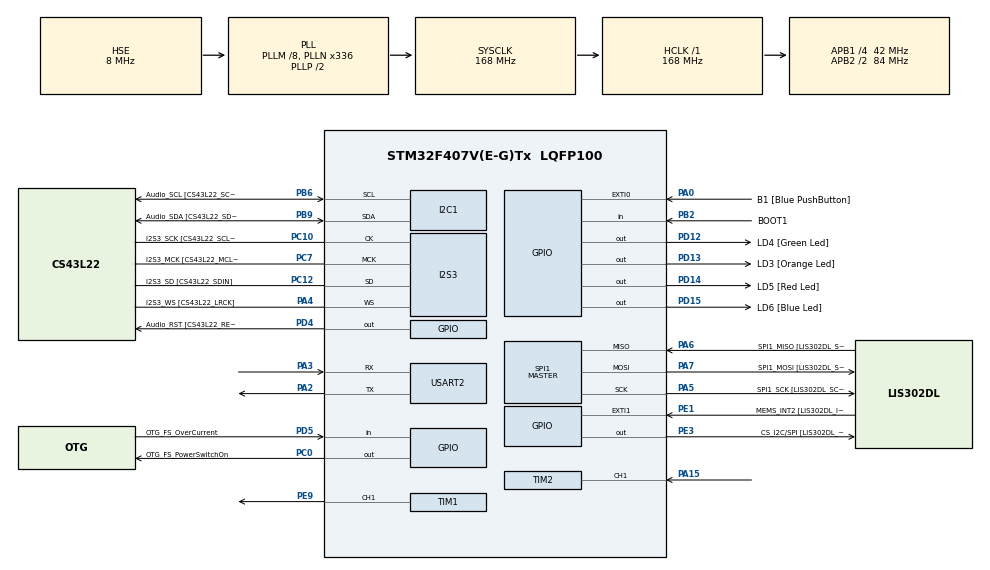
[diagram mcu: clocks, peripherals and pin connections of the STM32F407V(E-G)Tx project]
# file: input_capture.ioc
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I2S3.AudioFreq-Half_Duplex_Master=I2S_AUDIOFREQ_96K
I2S3.ErrorAudioFreq=-2.34 %
I2S3.ErrorAudioFreq-Half_Duplex_Master=0.8 %
I2S3.FullDuplexMode=I2S_FULLDUPLEXMODE_DISABLE
I2S3.Instance=SPI$Index
I2S3.RealAudioFreq=93.75 KHz
I2S3.RealAudioFreq-Half_Duplex_Master=96.774 KHz
I2S3.VirtualMode=I2S_MODE_MASTER
Mcu.Family=STM32F4
Mcu.Name=STM32F407V(E-G)Tx
Mcu.Package=LQFP100
NVIC.PriorityGroup=NVIC_PRIORITYGROUP_0
NVIC.TIM2_IRQn=true\:0\:0\:false\:false\:true\:true\:true\:true
PA0-WKUP.GPIO_Label=B1 [Blue PushButton]
PA0-WKUP.GPIO_ModeDefaultEXTI=GPIO_MODE_EVT_RISING
PA0-WKUP.GPIO_PuPd=GPIO_NOPULL
PA0-WKUP.Signal=GPXTI0
PA10.GPIO_Label=OTG_FS_ID
PA10.GPIO_Mode=GPIO_MODE_AF_PP
PA10.GPIO_PuPd=GPIO_NOPULL
PA10.GPIO_Speed=GPIO_SPEED_FREQ_LOW
PA10.Signal=USB_OTG_FS_ID
PA11.GPIO_Label=OTG_FS_DM
PA11.GPIO_Mode=GPIO_MODE_AF_PP
PA11.GPIO_PuPd=GPIO_NOPULL
PA11.GPIO_Speed=GPIO_SPEED_FREQ_LOW
PA11.Signal=USB_OTG_FS_DM
PA12.GPIO_Label=OTG_FS_DP
PA12.GPIO_Mode=GPIO_MODE_AF_PP
PA12.GPIO_PuPd=GPIO_NOPULL
PA12.GPIO_Speed=GPIO_SPEED_FREQ_LOW
PA12.Signal=USB_OTG_FS_DP
PA13.GPIO_Label=SWDIO
PA13.Mode=Serial_Wire
PA13.Signal=SYS_JTMS-SWDIO
PA14.GPIO_Label=SWCLK
PA14.Mode=Serial_Wire
PA14.Signal=SYS_JTCK-SWCLK
PA15.Signal=S_TIM2_CH1_ETR
PA2.Mode=Asynchronous
PA2.Signal=USART2_TX
PA3.Mode=Asynchronous
PA3.Signal=USART2_RX
PA4.GPIO_Label=I2S3_WS [CS43L22_LRCK]
PA4.GPIO_Mode=GPIO_MODE_AF_PP
PA4.GPIO_PuPd=GPIO_NOPULL
PA4.GPIO_Speed=GPIO_SPEED_FREQ_LOW
PA4.Mode=Half_Duplex_Master
PA4.Signal=I2S3_WS
PA5.GPIO_Label=SPI1_SCK [LIS302DL_SCL/SPC]
PA5.GPIO_Mode=GPIO_MODE_AF_PP
PA5.GPIO_PuPd=GPIO_NOPULL
PA5.GPIO_Speed=GPIO_SPEED_FREQ_LOW
PA5.Mode=Full_Duplex_Master
PA5.Signal=SPI1_SCK
PA6.GPIO_Label=SPI1_MISO [LIS302DL_SDO]
PA6.GPIO_Mode=GPIO_MODE_AF_PP
PA6.GPIO_PuPd=GPIO_NOPULL
PA6.GPIO_Speed=GPIO_SPEED_FREQ_LOW
PA6.Mode=Full_Duplex_Master
PA6.Signal=SPI1_MISO
PA7.GPIO_Label=SPI1_MOSI [LIS302DL_SDA/SDI/SDO]
PA7.GPIO_Mode=GPIO_MODE_AF_PP
PA7.GPIO_PuPd=GPIO_NOPULL
PA7.GPIO_Speed=GPIO_SPEED_FREQ_LOW
PA7.Mode=Full_Duplex_Master
PA7.Signal=SPI1_MOSI
PA9.GPIO_Label=VBUS_FS
PA9.GPIO_Mode=GPIO_MODE_INPUT
PA9.GPIO_PuPd=GPIO_NOPULL
PA9.Signal=USB_OTG_FS_VBUS
PB10.GPIO_Label=CLK_IN [MP45DT02_CLK]
PB10.GPIO_Mode=GPIO_MODE_AF_PP
PB10.GPIO_PuPd=GPIO_NOPULL
PB10.GPIO_Speed=GPIO_SPEED_FREQ_LOW
PB10.Signal=I2S2_CK
PB2.GPIO_Label=BOOT1
PB2.GPIO_Mode=GPIO_MODE_INPUT
PB2.GPIO_PuPd=GPIO_NOPULL
PB2.Signal=GPIO_Input
PB3.GPIO_Label=SWO
PB3.Signal=SYS_JTDO-SWO
PB6.GPIO_Label=Audio_SCL [CS43L22_SCL]
PB6.GPIO_Mode=GPIO_MODE_AF_OD
PB6.GPIO_Pu=GPIO_PULLUP
PB6.GPIO_PuPd=GPIO_NOPULL
PB6.GPIO_Speed=GPIO_SPEED_FREQ_LOW
PB6.Mode=I2C
PB6.Signal=I2C1_SCL
PB9.GPIO_Label=Audio_SDA [CS43L22_SDA]
PB9.GPIO_Mode=GPIO_MODE_AF_OD
PB9.GPIO_Pu=GPIO_PULLUP
PB9.GPIO_PuPd=GPIO_NOPULL
PB9.GPIO_Speed=GPIO_SPEED_FREQ_LOW
PB9.Mode=I2C
PB9.Signal=I2C1_SDA
PC0.GPIO_Label=OTG_FS_PowerSwitchOn
PC0.GPIO_PuPd=GPIO_NOPULL
PC0.GPIO_Speed=GPIO_SPEED_FREQ_LOW
PC0.PinState=GPIO_PIN_SET
PC0.Signal=GPIO_Output
PC10.GPIO_Label=I2S3_SCK [CS43L22_SCLK]
PC10.GPIO_Mode=GPIO_MODE_AF_PP
PC10.GPIO_PuPd=GPIO_NOPULL
PC10.GPIO_Speed=GPIO_SPEED_FREQ_LOW
PC10.Mode=Half_Duplex_Master
PC10.Signal=I2S3_CK
PC12.GPIO_Label=I2S3_SD [CS43L22_SDIN]
PC12.GPIO_Mode=GPIO_MODE_AF_PP
PC12.GPIO_PuPd=GPIO_NOPULL
PC12.GPIO_Speed=GPIO_SPEED_FREQ_LOW
PC12.Mode=Half_Duplex_Master
PC12.Signal=I2S3_SD
PC14-OSC32_IN.GPIO_Label=PC14-OSC32_IN
PC14-OSC32_IN.Mode=LSE-External-Oscillator
PC14-OSC32_IN.Signal=RCC_OSC32_IN
PC15-OSC32_OUT.GPIO_Label=PC15-OSC32_OUT
PC15-OSC32_OUT.Mode=LSE-External-Oscillator
PC15-OSC32_OUT.Signal=RCC_OSC32_OUT
PC3.GPIO_Label=PDM_OUT [MP45DT02_DOUT]
PC3.GPIO_Mode=GPIO_MODE_AF_PP
PC3.GPIO_PuPd=GPIO_NOPULL
PC3.GPIO_Speed=GPIO_SPEED_FREQ_LOW
PC3.Signal=I2S2_SD
PC7.GPIO_Label=I2S3_MCK [CS43L22_MCLK]
PC7.GPIO_Mode=GPIO_MODE_AF_PP
PC7.GPIO_PuPd=GPIO_NOPULL
PC7.GPIO_Speed=GPIO_SPEED_FREQ_LOW
PC7.Mode=Master_Clock_Activated
PC7.Signal=I2S3_MCK
PD12.GPIO_Label=LD4 [Green Led]
PD12.GPIO_PuPd=GPIO_NOPULL
PD12.GPIO_Speed=GPIO_SPEED_FREQ_LOW
PD12.Signal=GPIO_Output
PD13.GPIO_Label=LD3 [Orange Led]
PD13.GPIO_PuPd=GPIO_NOPULL
PD13.GPIO_Speed=GPIO_SPEED_FREQ_LOW
PD13.Signal=GPIO_Output
PD14.GPIO_Label=LD5 [Red Led]
PD14.GPIO_PuPd=GPIO_NOPULL
PD14.GPIO_Speed=GPIO_SPEED_FREQ_LOW
PD14.Signal=GPIO_Output
PD15.GPIO_Label=LD6 [Blue Led]
PD15.GPIO_PuPd=GPIO_NOPULL
PD15.GPIO_Speed=GPIO_SPEED_FREQ_LOW
PD15.Signal=GPIO_Output
PD4.GPIO_Label=Audio_RST [CS43L22_RESET]
PD4.GPIO_PuPd=GPIO_NOPULL
PD4.GPIO_Speed=GPIO_SPEED_FREQ_LOW
PD4.Signal=GPIO_Output
PD5.GPIO_Label=OTG_FS_OverCurrent
PD5.GPIO_Mode=GPIO_MODE_INPUT
PD5.GPIO_PuPd=GPIO_NOPULL
PD5.Signal=GPIO_Input
PE1.GPIO_Label=MEMS_INT2 [LIS302DL_INT2]
PE1.GPIO_ModeDefaultEXTI=GPIO_MODE_EVT_RISING
PE1.GPIO_PuPd=GPIO_NOPULL
PE1.Signal=GPXTI1
PE3.GPIO_Label=CS_I2C/SPI [LIS302DL_CS_I2C/SPI]
PE3.GPIO_PuPd=GPIO_NOPULL
PE3.GPIO_Speed=GPIO_SPEED_FREQ_LOW
PE3.Signal=GPIO_Output
PE9.Signal=S_TIM1_CH1
PH0-OSC_IN.GPIO_Label=PH0-OSC_IN
PH0-OSC_IN.Mode=HSE-External-Oscillator
PH0-OSC_IN.Signal=RCC_OSC_IN
PH1-OSC_OUT.GPIO_Label=PH1-OSC_OUT
PH1-OSC_OUT.Mode=HSE-External-Oscillator
PH1-OSC_OUT.Signal=RCC_OSC_OUT
ProjectManager.HeapSize=0x200
ProjectManager.StackSize=0x400
ProjectManager.TargetToolchain=STM32CubeIDE
RCC.48MHZClocksFreq_Value=48000000
RCC.AHBFreq_Value=168000000
RCC.APB1CLKDivider=RCC_HCLK_DIV4
RCC.APB1Freq_Value=42000000
RCC.APB1TimFreq_Value=84000000
RCC.APB2CLKDivider=RCC_HCLK_DIV2
RCC.APB2Freq_Value=84000000
RCC.APB2TimFreq_Value=168000000
RCC.CortexFreq_Value=168000000
RCC.HCLKFreq_Value=168000000
RCC.HSE_VALUE=8000000
RCC.HSI_VALUE=16000000
RCC.PLLM=8
RCC.PLLN=336
RCC.PLLQ=7
RCC.PLLSourceVirtual=RCC_PLLSOURCE_HSE
RCC.SYSCLKFreq_VALUE=168000000
RCC.SYSCLKSource=RCC_SYSCLKSOURCE_PLLCLK
RCC.VCOOutputFreq_Value=336000000
SH.S_TIM1_CH1.0=TIM1_CH1,PWM Generation1 CH1
SH.S_TIM2_CH1_ETR.0=TIM2_CH1,Input_Capture1_from_TI1
SPI1.BaudRatePrescaler-Full_Duplex_Master=SPI_BAUDRATEPRESCALER_2
SPI1.CalculateBaudRate-Full_Duplex_Master=42.0 MBits/s
SPI1.Direction=SPI_DIRECTION_2LINES
SPI1.Mode=SPI_MODE_MASTER
SPI1.Mode-Full_Duplex_Master=SPI_MODE_MASTER
SPI1.VirtualType=VM_MASTER
TIM1.Channel-PWM\ Generation1\ CH1=TIM_CHANNEL_1
TIM1.Period=100-1
TIM1.Prescaler=168-1
TIM2.Channel-Input_Capture1_from_TI1=TIM_CHANNEL_1
TIM2.Prescaler=84-1
USART2.VirtualMode=VM_ASYNC
VP_TIM1_VS_ClockSourceINT.Mode=Internal
VP_TIM2_VS_ClockSourceINT.Mode=Internal
board=STM32F407G-DISC1

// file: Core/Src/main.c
/* USER CODE BEGIN Header */
/**
  ******************************************************************************
  * @file           : main.c
  * @brief          : Main program body
  ******************************************************************************
  * @attention
  *
  * Copyright (c) 2023 STMicroelectronics.
  * All rights reserved.
  *
  * This software is licensed under terms that can be found in the LICENSE file
  * in the root directory of this software component.
  * If no LICENSE file comes with this software, it is provided AS-IS.
  *
  ******************************************************************************
  */
/* USER CODE END Header */
#include "main.h"

I2C_HandleTypeDef hi2c1;

I2S_HandleTypeDef hi2s3;

SPI_HandleTypeDef hspi1;

TIM_HandleTypeDef htim1;
TIM_HandleTypeDef htim2;

UART_HandleTypeDef huart2;

void SystemClock_Config(void);
static void MX_GPIO_Init(void);
static void MX_I2C1_Init(void);
static void MX_I2S3_Init(void);
static void MX_SPI1_Init(void);
static void MX_TIM1_Init(void);
static void MX_USART2_UART_Init(void);
static void MX_TIM2_Init(void);

/* USER CODE BEGIN 0 */
#define TIMCLOCK   84000000
#define PRESCALAR  84
int _write(int file, char* p, int len){
	HAL_UART_Transmit(&huart2, p, len, 10);
	return len;

}
uint32_t cap0 = 0;
uint32_t cap1 = 0;
uint32_t diff = 0;
uint8_t is_capture = 0;

/* Measure Frequency */
float frequency = 0;

void HAL_TIM_IC_CaptureCallback(TIM_HandleTypeDef *htim)
{
	if (htim->Channel == HAL_TIM_ACTIVE_CHANNEL_1)
	{
		if (is_capture==0)
		{
			cap0 = HAL_TIM_ReadCapturedValue(htim, TIM_CHANNEL_1);
			is_capture = 1;
		}

		else
		{
			cap1 = HAL_TIM_ReadCapturedValue(htim, TIM_CHANNEL_1);

			if (cap1 > cap0)
			{
				diff = cap1-cap0;
			}

			else if (cap0 > cap1)
			{
				diff = (0xffffffff - cap0) + cap1;
			}

			frequency = HAL_RCC_GetPCLK2Freq()/(htim2.Instance->PSC + 1);

			frequency = frequency/diff;

			__HAL_TIM_SET_COUNTER(htim, 0);  // reset the counter
			is_capture = 0; // set it back to false
		}
	}
}
/* USER CODE END 0 */

int main(void)
{

  /* MCU Configuration--------------------------------------------------------*/

  /* Reset of all peripherals, Initializes the Flash interface and the Systick. */
  HAL_Init();

  /* Configure the system clock */
  SystemClock_Config();

  /* Initialize all configured peripherals */
  MX_GPIO_Init();
  MX_I2C1_Init();
  MX_I2S3_Init();
  MX_SPI1_Init();
  MX_TIM1_Init();
  MX_USART2_UART_Init();
  MX_TIM2_Init();
  /* USER CODE BEGIN 2 */
  TIM1->CCR1 = 30;
  HAL_TIM_PWM_Start(&htim1, TIM_CHANNEL_1);
  HAL_TIM_IC_Start_IT(&htim2, TIM_CHANNEL_1);
  /* USER CODE END 2 */

  /* Infinite loop */
  while (1)
  {
	  printf("The frequency is %.2f\n", frequency);
	  HAL_Delay(1000);
  }
}

void SystemClock_Config(void)
{
  RCC_OscInitTypeDef RCC_OscInitStruct = {0};
  RCC_ClkInitTypeDef RCC_ClkInitStruct = {0};

  /** Configure the main internal regulator output voltage
  */
  __HAL_RCC_PWR_CLK_ENABLE();
  __HAL_PWR_VOLTAGESCALING_CONFIG(PWR_REGULATOR_VOLTAGE_SCALE1);

  /** Initializes the RCC Oscillators according to the specified parameters
  * in the RCC_OscInitTypeDef structure.
  */
  RCC_OscInitStruct.OscillatorType = RCC_OSCILLATORTYPE_HSE;
  RCC_OscInitStruct.HSEState = RCC_HSE_ON;
  RCC_OscInitStruct.PLL.PLLState = RCC_PLL_ON;
  RCC_OscInitStruct.PLL.PLLSource = RCC_PLLSOURCE_HSE;
  RCC_OscInitStruct.PLL.PLLM = 8;
  RCC_OscInitStruct.PLL.PLLN = 336;
  RCC_OscInitStruct.PLL.PLLP = RCC_PLLP_DIV2;
  RCC_OscInitStruct.PLL.PLLQ = 7;
  if (HAL_RCC_OscConfig(&RCC_OscInitStruct) != HAL_OK)
  {
    Error_Handler();
  }

  /** Initializes the CPU, AHB and APB buses clocks
  */
  RCC_ClkInitStruct.ClockType = RCC_CLOCKTYPE_HCLK|RCC_CLOCKTYPE_SYSCLK
                              |RCC_CLOCKTYPE_PCLK1|RCC_CLOCKTYPE_PCLK2;
  RCC_ClkInitStruct.SYSCLKSource = RCC_SYSCLKSOURCE_PLLCLK;
  RCC_ClkInitStruct.AHBCLKDivider = RCC_SYSCLK_DIV1;
  RCC_ClkInitStruct.APB1CLKDivider = RCC_HCLK_DIV4;
  RCC_ClkInitStruct.APB2CLKDivider = RCC_HCLK_DIV2;

  if (HAL_RCC_ClockConfig(&RCC_ClkInitStruct, FLASH_LATENCY_5) != HAL_OK)
  {
    Error_Handler();
  }
}

static void MX_I2C1_Init(void)
{

  hi2c1.Instance = I2C1;
  hi2c1.Init.ClockSpeed = 100000;
  hi2c1.Init.DutyCycle = I2C_DUTYCYCLE_2;
  hi2c1.Init.OwnAddress1 = 0;
  hi2c1.Init.AddressingMode = I2C_ADDRESSINGMODE_7BIT;
  hi2c1.Init.DualAddressMode = I2C_DUALADDRESS_DISABLE;
  hi2c1.Init.OwnAddress2 = 0;
  hi2c1.Init.GeneralCallMode = I2C_GENERALCALL_DISABLE;
  hi2c1.Init.NoStretchMode = I2C_NOSTRETCH_DISABLE;
  if (HAL_I2C_Init(&hi2c1) != HAL_OK)
  {
    Error_Handler();
  }

}

static void MX_I2S3_Init(void)
{

  hi2s3.Instance = SPI3;
  hi2s3.Init.Mode = I2S_MODE_MASTER_TX;
  hi2s3.Init.Standard = I2S_STANDARD_PHILIPS;
  hi2s3.Init.DataFormat = I2S_DATAFORMAT_16B;
  hi2s3.Init.MCLKOutput = I2S_MCLKOUTPUT_ENABLE;
  hi2s3.Init.AudioFreq = I2S_AUDIOFREQ_96K;
  hi2s3.Init.CPOL = I2S_CPOL_LOW;
  hi2s3.Init.ClockSource = I2S_CLOCK_PLL;
  hi2s3.Init.FullDuplexMode = I2S_FULLDUPLEXMODE_DISABLE;
  if (HAL_I2S_Init(&hi2s3) != HAL_OK)
  {
    Error_Handler();
  }

}

static void MX_SPI1_Init(void)
{

  /* SPI1 parameter configuration*/
  hspi1.Instance = SPI1;
  hspi1.Init.Mode = SPI_MODE_MASTER;
  hspi1.Init.Direction = SPI_DIRECTION_2LINES;
  hspi1.Init.DataSize = SPI_DATASIZE_8BIT;
  hspi1.Init.CLKPolarity = SPI_POLARITY_LOW;
  hspi1.Init.CLKPhase = SPI_PHASE_1EDGE;
  hspi1.Init.NSS = SPI_NSS_SOFT;
  hspi1.Init.BaudRatePrescaler = SPI_BAUDRATEPRESCALER_2;
  hspi1.Init.FirstBit = SPI_FIRSTBIT_MSB;
  hspi1.Init.TIMode = SPI_TIMODE_DISABLE;
  hspi1.Init.CRCCalculation = SPI_CRCCALCULATION_DISABLE;
  hspi1.Init.CRCPolynomial = 10;
  if (HAL_SPI_Init(&hspi1) != HAL_OK)
  {
    Error_Handler();
  }

}

static void MX_TIM1_Init(void)
{

  TIM_ClockConfigTypeDef sClockSourceConfig = {0};
  TIM_MasterConfigTypeDef sMasterConfig = {0};
  TIM_OC_InitTypeDef sConfigOC = {0};
  TIM_BreakDeadTimeConfigTypeDef sBreakDeadTimeConfig = {0};

  htim1.Instance = TIM1;
  htim1.Init.Prescaler = 168-1;
  htim1.Init.CounterMode = TIM_COUNTERMODE_UP;
  htim1.Init.Period = 100-1;
  htim1.Init.ClockDivision = TIM_CLOCKDIVISION_DIV1;
  htim1.Init.RepetitionCounter = 0;
  htim1.Init.AutoReloadPreload = TIM_AUTORELOAD_PRELOAD_DISABLE;
  if (HAL_TIM_Base_Init(&htim1) != HAL_OK)
  {
    Error_Handler();
  }
  sClockSourceConfig.ClockSource = TIM_CLOCKSOURCE_INTERNAL;
  if (HAL_TIM_ConfigClockSource(&htim1, &sClockSourceConfig) != HAL_OK)
  {
    Error_Handler();
  }
  if (HAL_TIM_PWM_Init(&htim1) != HAL_OK)
  {
    Error_Handler();
  }
  sMasterConfig.MasterOutputTrigger = TIM_TRGO_RESET;
  sMasterConfig.MasterSlaveMode = TIM_MASTERSLAVEMODE_DISABLE;
  if (HAL_TIMEx_MasterConfigSynchronization(&htim1, &sMasterConfig) != HAL_OK)
  {
    Error_Handler();
  }
  sConfigOC.OCMode = TIM_OCMODE_PWM1;
  sConfigOC.Pulse = 0;
  sConfigOC.OCPolarity = TIM_OCPOLARITY_HIGH;
  sConfigOC.OCNPolarity = TIM_OCNPOLARITY_HIGH;
  sConfigOC.OCFastMode = TIM_OCFAST_DISABLE;
  sConfigOC.OCIdleState = TIM_OCIDLESTATE_RESET;
  sConfigOC.OCNIdleState = TIM_OCNIDLESTATE_RESET;
  if (HAL_TIM_PWM_ConfigChannel(&htim1, &sConfigOC, TIM_CHANNEL_1) != HAL_OK)
  {
    Error_Handler();
  }
  sBreakDeadTimeConfig.OffStateRunMode = TIM_OSSR_DISABLE;
  sBreakDeadTimeConfig.OffStateIDLEMode = TIM_OSSI_DISABLE;
  sBreakDeadTimeConfig.LockLevel = TIM_LOCKLEVEL_OFF;
  sBreakDeadTimeConfig.DeadTime = 0;
  sBreakDeadTimeConfig.BreakState = TIM_BREAK_DISABLE;
  sBreakDeadTimeConfig.BreakPolarity = TIM_BREAKPOLARITY_HIGH;
  sBreakDeadTimeConfig.AutomaticOutput = TIM_AUTOMATICOUTPUT_DISABLE;
  if (HAL_TIMEx_ConfigBreakDeadTime(&htim1, &sBreakDeadTimeConfig) != HAL_OK)
  {
    Error_Handler();
  }
  HAL_TIM_MspPostInit(&htim1);

}

static void MX_TIM2_Init(void)
{

  TIM_ClockConfigTypeDef sClockSourceConfig = {0};
  TIM_MasterConfigTypeDef sMasterConfig = {0};
  TIM_IC_InitTypeDef sConfigIC = {0};

  htim2.Instance = TIM2;
  htim2.Init.Prescaler = 84-1;
  htim2.Init.CounterMode = TIM_COUNTERMODE_UP;
  htim2.Init.Period = 4294967295;
  htim2.Init.ClockDivision = TIM_CLOCKDIVISION_DIV1;
  htim2.Init.AutoReloadPreload = TIM_AUTORELOAD_PRELOAD_DISABLE;
  if (HAL_TIM_Base_Init(&htim2) != HAL_OK)
  {
    Error_Handler();
  }
  sClockSourceConfig.ClockSource = TIM_CLOCKSOURCE_INTERNAL;
  if (HAL_TIM_ConfigClockSource(&htim2, &sClockSourceConfig) != HAL_OK)
  {
    Error_Handler();
  }
  if (HAL_TIM_IC_Init(&htim2) != HAL_OK)
  {
    Error_Handler();
  }
  sMasterConfig.MasterOutputTrigger = TIM_TRGO_RESET;
  sMasterConfig.MasterSlaveMode = TIM_MASTERSLAVEMODE_DISABLE;
  if (HAL_TIMEx_MasterConfigSynchronization(&htim2, &sMasterConfig) != HAL_OK)
  {
    Error_Handler();
  }
  sConfigIC.ICPolarity = TIM_INPUTCHANNELPOLARITY_RISING;
  sConfigIC.ICSelection = TIM_ICSELECTION_DIRECTTI;
  sConfigIC.ICPrescaler = TIM_ICPSC_DIV1;
  sConfigIC.ICFilter = 0;
  if (HAL_TIM_IC_ConfigChannel(&htim2, &sConfigIC, TIM_CHANNEL_1) != HAL_OK)
  {
    Error_Handler();
  }

}

static void MX_USART2_UART_Init(void)
{

  huart2.Instance = USART2;
  huart2.Init.BaudRate = 115200;
  huart2.Init.WordLength = UART_WORDLENGTH_8B;
  huart2.Init.StopBits = UART_STOPBITS_1;
  huart2.Init.Parity = UART_PARITY_NONE;
  huart2.Init.Mode = UART_MODE_TX_RX;
  huart2.Init.HwFlowCtl = UART_HWCONTROL_NONE;
  huart2.Init.OverSampling = UART_OVERSAMPLING_16;
  if (HAL_UART_Init(&huart2) != HAL_OK)
  {
    Error_Handler();
  }

}

static void MX_GPIO_Init(void)
{
  GPIO_InitTypeDef GPIO_InitStruct = {0};

  /* GPIO Ports Clock Enable */
  __HAL_RCC_GPIOE_CLK_ENABLE();
  __HAL_RCC_GPIOC_CLK_ENABLE();
  __HAL_RCC_GPIOH_CLK_ENABLE();
  __HAL_RCC_GPIOA_CLK_ENABLE();
  __HAL_RCC_GPIOB_CLK_ENABLE();
  __HAL_RCC_GPIOD_CLK_ENABLE();

  /*Configure GPIO pin Output Level */
  HAL_GPIO_WritePin(CS_I2C_SPI_GPIO_Port, CS_I2C_SPI_Pin, GPIO_PIN_RESET);

  /*Configure GPIO pin Output Level */
  HAL_GPIO_WritePin(OTG_FS_PowerSwitchOn_GPIO_Port, OTG_FS_PowerSwitchOn_Pin, GPIO_PIN_SET);

  /*Configure GPIO pin Output Level */
  HAL_GPIO_WritePin(GPIOD, LD4_Pin|LD3_Pin|LD5_Pin|LD6_Pin
                          |Audio_RST_Pin, GPIO_PIN_RESET);

  /*Configure GPIO pin : CS_I2C_SPI_Pin */
  GPIO_InitStruct.Pin = CS_I2C_SPI_Pin;
  GPIO_InitStruct.Mode = GPIO_MODE_OUTPUT_PP;
  GPIO_InitStruct.Pull = GPIO_NOPULL;
  GPIO_InitStruct.Speed = GPIO_SPEED_FREQ_LOW;
  HAL_GPIO_Init(CS_I2C_SPI_GPIO_Port, &GPIO_InitStruct);

  /*Configure GPIO pin : OTG_FS_PowerSwitchOn_Pin */
  GPIO_InitStruct.Pin = OTG_FS_PowerSwitchOn_Pin;
  GPIO_InitStruct.Mode = GPIO_MODE_OUTPUT_PP;
  GPIO_InitStruct.Pull = GPIO_NOPULL;
  GPIO_InitStruct.Speed = GPIO_SPEED_FREQ_LOW;
  HAL_GPIO_Init(OTG_FS_PowerSwitchOn_GPIO_Port, &GPIO_InitStruct);

  /*Configure GPIO pin : PDM_OUT_Pin */
  GPIO_InitStruct.Pin = PDM_OUT_Pin;
  GPIO_InitStruct.Mode = GPIO_MODE_AF_PP;
  GPIO_InitStruct.Pull = GPIO_NOPULL;
  GPIO_InitStruct.Speed = GPIO_SPEED_FREQ_LOW;
  GPIO_InitStruct.Alternate = GPIO_AF5_SPI2;
  HAL_GPIO_Init(PDM_OUT_GPIO_Port, &GPIO_InitStruct);

  /*Configure GPIO pin : B1_Pin */
  GPIO_InitStruct.Pin = B1_Pin;
  GPIO_InitStruct.Mode = GPIO_MODE_EVT_RISING;
  GPIO_InitStruct.Pull = GPIO_NOPULL;
  HAL_GPIO_Init(B1_GPIO_Port, &GPIO_InitStruct);

  /*Configure GPIO pin : BOOT1_Pin */
  GPIO_InitStruct.Pin = BOOT1_Pin;
  GPIO_InitStruct.Mode = GPIO_MODE_INPUT;
  GPIO_InitStruct.Pull = GPIO_NOPULL;
  HAL_GPIO_Init(BOOT1_GPIO_Port, &GPIO_InitStruct);

  /*Configure GPIO pin : CLK_IN_Pin */
  GPIO_InitStruct.Pin = CLK_IN_Pin;
  GPIO_InitStruct.Mode = GPIO_MODE_AF_PP;
  GPIO_InitStruct.Pull = GPIO_NOPULL;
  GPIO_InitStruct.Speed = GPIO_SPEED_FREQ_LOW;
  GPIO_InitStruct.Alternate = GPIO_AF5_SPI2;
  HAL_GPIO_Init(CLK_IN_GPIO_Port, &GPIO_InitStruct);

  /*Configure GPIO pins : LD4_Pin LD3_Pin LD5_Pin LD6_Pin
                           Audio_RST_Pin */
  GPIO_InitStruct.Pin = LD4_Pin|LD3_Pin|LD5_Pin|LD6_Pin
                          |Audio_RST_Pin;
  GPIO_InitStruct.Mode = GPIO_MODE_OUTPUT_PP;
  GPIO_InitStruct.Pull = GPIO_NOPULL;
  GPIO_InitStruct.Speed = GPIO_SPEED_FREQ_LOW;
  HAL_GPIO_Init(GPIOD, &GPIO_InitStruct);

  /*Configure GPIO pin : VBUS_FS_Pin */
  GPIO_InitStruct.Pin = VBUS_FS_Pin;
  GPIO_InitStruct.Mode = GPIO_MODE_INPUT;
  GPIO_InitStruct.Pull = GPIO_NOPULL;
  HAL_GPIO_Init(VBUS_FS_GPIO_Port, &GPIO_InitStruct);

  /*Configure GPIO pins : OTG_FS_ID_Pin OTG_FS_DM_Pin OTG_FS_DP_Pin */
  GPIO_InitStruct.Pin = OTG_FS_ID_Pin|OTG_FS_DM_Pin|OTG_FS_DP_Pin;
  GPIO_InitStruct.Mode = GPIO_MODE_AF_PP;
  GPIO_InitStruct.Pull = GPIO_NOPULL;
  GPIO_InitStruct.Speed = GPIO_SPEED_FREQ_LOW;
  GPIO_InitStruct.Alternate = GPIO_AF10_OTG_FS;
  HAL_GPIO_Init(GPIOA, &GPIO_InitStruct);

  /*Configure GPIO pin : OTG_FS_OverCurrent_Pin */
  GPIO_InitStruct.Pin = OTG_FS_OverCurrent_Pin;
  GPIO_InitStruct.Mode = GPIO_MODE_INPUT;
  GPIO_InitStruct.Pull = GPIO_NOPULL;
  HAL_GPIO_Init(OTG_FS_OverCurrent_GPIO_Port, &GPIO_InitStruct);

  /*Configure GPIO pin : MEMS_INT2_Pin */
  GPIO_InitStruct.Pin = MEMS_INT2_Pin;
  GPIO_InitStruct.Mode = GPIO_MODE_EVT_RISING;
  GPIO_InitStruct.Pull = GPIO_NOPULL;
  HAL_GPIO_Init(MEMS_INT2_GPIO_Port, &GPIO_InitStruct);

}

void Error_Handler(void)
{
  __disable_irq();
  while (1)
  {
  }
}
